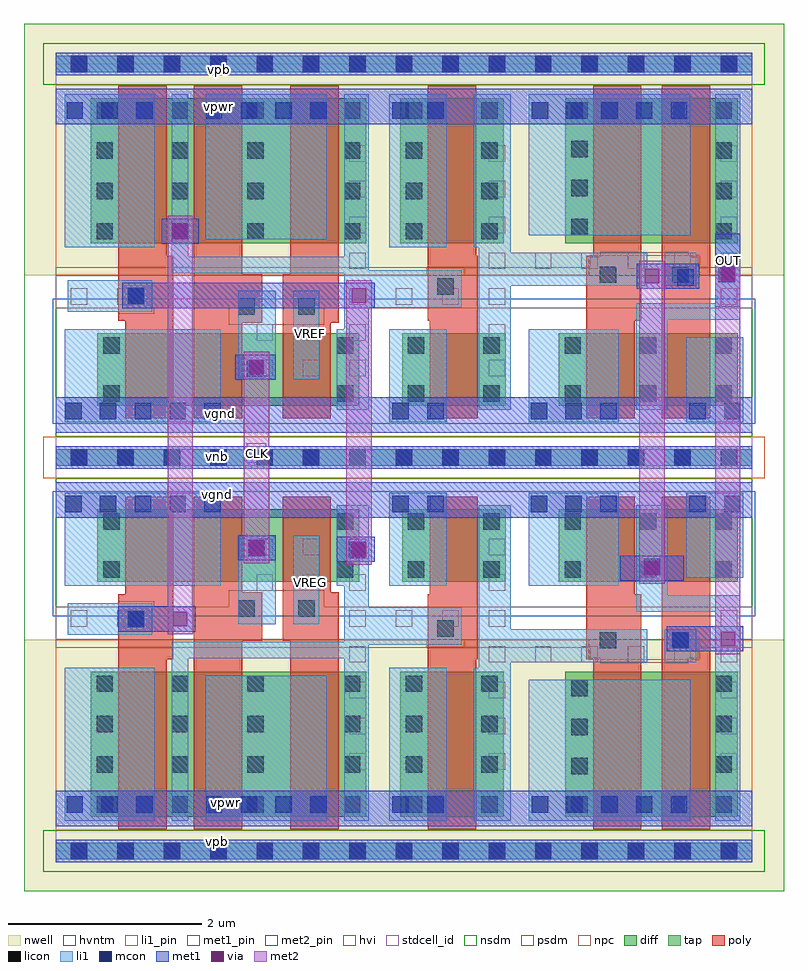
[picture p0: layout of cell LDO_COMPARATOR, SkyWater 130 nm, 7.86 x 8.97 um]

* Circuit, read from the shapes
.subckt LDO_COMPARATOR CLK OUT VREF VREG vgnd vnb vpb vpwr
XM1 n1 scs8hvl_inv_1_3/A vgnd vnb sky130_fd_pr__nfet_g5v0d10v5 w=0.75 l=0.5
XM2 n2 scs8hvl_inv_1_2/A vgnd vnb sky130_fd_pr__nfet_g5v0d10v5 w=0.75 l=0.5
XM3 n3 CLK n1 vnb sky130_fd_pr__nfet_g5v0d10v5 w=0.75 l=0.5
XM4 n4 CLK n2 vnb sky130_fd_pr__nfet_g5v0d10v5 w=0.75 l=0.5
XM5 scs8hvl_inv_1_2/A VREG n3 vnb sky130_fd_pr__nfet_g5v0d10v5 w=0.75 l=0.5
XM6 scs8hvl_inv_1_3/A VREF n4 vnb sky130_fd_pr__nfet_g5v0d10v5 w=0.75 l=0.5
XM7 scs8hvl_nor2_1_5/A scs8hvl_inv_1_2/A vgnd vnb sky130_fd_pr__nfet_g5v0d10v5 w=0.75 l=0.5
XM8 scs8hvl_nor2_1_4/A scs8hvl_inv_1_3/A vgnd vnb sky130_fd_pr__nfet_g5v0d10v5 w=0.75 l=0.5
XM9 scs8hvl_nor2_1_4/B scs8hvl_nor2_1_5/A vgnd vnb sky130_fd_pr__nfet_g5v0d10v5 w=0.75 l=0.5
XM10 OUT scs8hvl_nor2_1_4/A vgnd vnb sky130_fd_pr__nfet_g5v0d10v5 w=0.75 l=0.5
XM11 vgnd OUT scs8hvl_nor2_1_4/B vnb sky130_fd_pr__nfet_g5v0d10v5 w=0.75 l=0.5
XM12 vgnd scs8hvl_nor2_1_4/B OUT vnb sky130_fd_pr__nfet_g5v0d10v5 w=0.75 l=0.5
XM13 scs8hvl_inv_1_2/A scs8hvl_inv_1_3/A vpwr vpb sky130_fd_pr__pfet_g5v0d10v5 w=1.5 l=0.5
XM14 scs8hvl_inv_1_3/A scs8hvl_inv_1_2/A vpwr vpb sky130_fd_pr__pfet_g5v0d10v5 w=1.5 l=0.5
XM15 vpwr CLK scs8hvl_inv_1_2/A vpb sky130_fd_pr__pfet_g5v0d10v5 w=1.5 l=0.5
XM16 vpwr CLK scs8hvl_inv_1_3/A vpb sky130_fd_pr__pfet_g5v0d10v5 w=1.5 l=0.5
XM17 scs8hvl_inv_1_2/A VREG vpwr vpb sky130_fd_pr__pfet_g5v0d10v5 w=1.5 l=0.5
XM18 scs8hvl_inv_1_3/A VREF vpwr vpb sky130_fd_pr__pfet_g5v0d10v5 w=1.5 l=0.5
XM19 scs8hvl_nor2_1_5/A scs8hvl_inv_1_2/A vpwr vpb sky130_fd_pr__pfet_g5v0d10v5 w=1.5 l=0.5
XM20 scs8hvl_nor2_1_4/A scs8hvl_inv_1_3/A vpwr vpb sky130_fd_pr__pfet_g5v0d10v5 w=1.5 l=0.5
XM21 n5 scs8hvl_nor2_1_5/A vpwr vpb sky130_fd_pr__pfet_g5v0d10v5 w=1.5 l=0.5
XM22 n6 scs8hvl_nor2_1_4/A vpwr vpb sky130_fd_pr__pfet_g5v0d10v5 w=1.5 l=0.5
XM23 scs8hvl_nor2_1_4/B OUT n5 vpb sky130_fd_pr__pfet_g5v0d10v5 w=1.5 l=0.5
XM24 OUT scs8hvl_nor2_1_4/B n6 vpb sky130_fd_pr__pfet_g5v0d10v5 w=1.5 l=0.5
.ends

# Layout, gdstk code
import gdstk
lib = gdstk.Library(unit=1e-6, precision=1e-09)
def R(c, l, rs):  # rectangles x0, y0, x1, y1
    for r in rs: c.add(gdstk.rectangle(r[:2], r[2:], *l))
def A(c, l, x, y, w, h, nx, ny, dx, dy):  # array of equal rectangles
    R(c, l, [(x+i*dx, y+j*dy, x+i*dx+w, y+j*dy+h) for i in range(nx) for j in range(ny)])
def P(c, l, *ps):  # polygons
    for p in ps: c.add(gdstk.Polygon(p, *l))
nwell = (64, 20)
diff = (65, 20)
tap = (65, 44)
poly = (66, 20)
licon = (66, 44)
li1_pin = (67, 16)
li1 = (67, 20)
mcon = (67, 44)
met1_pin = (68, 16)
met1 = (68, 20)
via = (68, 44)
met2_pin = (69, 16)
met2 = (69, 20)
hvi = (75, 20)
stdcell_id = (81, 4)
nsdm = (93, 44)
psdm = (94, 20)
npc = (95, 20)
hvntm = (125, 20)

scs8hvl_nand3_1 = lib.new_cell('scs8hvl_nand3_1')
R(scs8hvl_nand3_1, nwell, [(-0.33,1.885,3.69,4.485)])
R(scs8hvl_nand3_1, diff, [(0.43,0.535,3.135,1.285), (0.36,2.215,3.21,3.715)])
R(scs8hvl_nand3_1, tap, [(0,-0.085,3.36,0.085), (0,3.985,3.36,4.155)])
P(scs8hvl_nand3_1, poly, [(2.925,3.845),(2.425,3.845),(2.425,1.895),(2.345,1.895),(2.345,0.405),(2.845,0.405),(2.845,1.395),(2.925,1.395)],
  [(2.135,1.895),(1.925,1.895),(1.925,3.845),(1.425,3.845),(1.425,0.405),(1.925,0.405),(1.925,1.395),(2.135,1.395)],
  [(1.215,2.085),(1.145,2.085),(1.145,3.845),(0.645,3.845),(0.645,1.415),(0.715,1.415),(0.715,0.405),(1.215,0.405)])
A(scs8hvl_nand3_1, licon, 0.155, -0.085, 0.17, 0.17, 7, 2, 0.48, 4.07)
A(scs8hvl_nand3_1, licon, 0.42, 2.255, 0.17, 0.17, 3, 2, 0.78, 0.415)
A(scs8hvl_nand3_1, licon, 0.42, 3.09, 0.17, 0.17, 3, 2, 0.78, 0.415)
R(scs8hvl_nand3_1, licon, [(0.49,0.575,0.66,0.745), (2.905,0.575,3.075,0.745), (0.49,1.075,0.66,1.245), (2.905,1.075,3.075,1.245), (1.885,1.475,2.055,1.645), (2.505,1.475,2.675,1.645), (0.745,1.585,0.915,1.755), (2.98,2.255,3.15,2.425), (2.98,2.67,3.15,2.84), (2.98,3.09,3.15,3.26), (2.98,3.505,3.15,3.675)])
A(scs8hvl_nand3_1, li1_pin, 2.075, 0.84, 0.17, 0.17, 3, 2, 0.48, 0.37)
A(scs8hvl_nand3_1, li1_pin, 3.035, 1.58, 0.17, 0.17, 1, 5, 0, 0.37)
R(scs8hvl_nand3_1, li1_pin, [(0.155,1.58,0.325,1.75), (0.635,1.58,0.805,1.75)])
R(scs8hvl_nand3_1, li1, [(0,-0.085,3.36,0.085), (0.09,0.365,1.705,1.325), (1.885,0.81,2.275,1.725), (2.455,0.81,2.725,1.725), (0.125,1.505,0.995,1.835), (0.09,2.175,1.02,3.755), (1.55,2.255,2.8,3.755), (0,3.985,3.36,4.155)])
P(scs8hvl_nand3_1, li1, [(3.235,3.755),(2.98,3.755),(2.98,2.075),(1.37,2.075),(1.37,3.755),(1.2,3.755),(1.2,1.905),(2.98,1.905),(2.98,1.325),(2.905,1.325),(2.905,0.495),(3.235,0.495)])
A(scs8hvl_nand3_1, mcon, 0.095, 0.395, 0.17, 0.17, 5, 1, 0.36, 0)
A(scs8hvl_nand3_1, mcon, 0.11, 3.505, 0.17, 0.17, 3, 1, 0.36, 0)
A(scs8hvl_nand3_1, mcon, 1.55, 3.505, 0.17, 0.17, 4, 1, 0.36, 0)
R(scs8hvl_nand3_1, mcon, [(0.155,-0.085,0.325,0.085), (0.155,-0.085,0.325,0.085), (0.635,-0.085,0.805,0.085), (0.635,-0.085,0.805,0.085), (1.115,-0.085,1.285,0.085), (1.115,-0.085,1.285,0.085), (1.595,-0.085,1.765,0.085), (1.595,-0.085,1.765,0.085), (2.075,-0.085,2.245,0.085), (2.075,-0.085,2.245,0.085), (2.555,-0.085,2.725,0.085), (2.555,-0.085,2.725,0.085), (3.035,-0.085,3.205,0.085), (3.035,-0.085,3.205,0.085), (0.155,3.985,0.325,4.155), (0.155,3.985,0.325,4.155), (0.635,3.985,0.805,4.155), (0.635,3.985,0.805,4.155), (1.115,3.985,1.285,4.155), (1.115,3.985,1.285,4.155), (1.595,3.985,1.765,4.155), (1.595,3.985,1.765,4.155), (2.075,3.985,2.245,4.155), (2.075,3.985,2.245,4.155), (2.555,3.985,2.725,4.155), (2.555,3.985,2.725,4.155), (3.035,3.985,3.205,4.155), (3.035,3.985,3.205,4.155)])
R(scs8hvl_nand3_1, met1_pin, [(0,0,3.36,0.115), (0,0.255,3.36,0.625), (0,3.445,3.36,3.815), (0,3.955,3.36,4.07)])
R(scs8hvl_nand3_1, met1, [(0,-0.115,3.36,0.115), (0,0.255,3.36,0.625), (0,3.445,3.36,3.815), (0,3.955,3.36,4.185)])
R(scs8hvl_nand3_1, hvi, [(-0.33,-0.265,3.69,4.485)])
R(scs8hvl_nand3_1, stdcell_id, [(0,0,3.36,4.07)])
R(scs8hvl_nand3_1, nsdm, [(0,0.215,3.36,1.885), (-0.13,3.855,3.49,4.285), (0,3.855,3.36,4.07)])
R(scs8hvl_nand3_1, psdm, [(-0.13,-0.215,3.49,0.215), (0,1.885,3.36,3.855)])
P(scs8hvl_nand3_1, npc, [(3.36,1.97),(0,1.97),(0,1.545),(0.645,1.545),(0.645,1.485),(1.015,1.485),(1.015,1.545),(1.785,1.545),(1.785,1.375),(2.775,1.375),(2.775,1.545),(3.36,1.545)])
R(scs8hvl_nand3_1, hvntm, [(-0.035,0.35,3.395,1.64)])
scs8hvl_nand3_1.add(gdstk.Label('scs8hvl_nand3_1', (0,0), layer=83, texttype=44))
scs8hvl_nand3_1.add(gdstk.Label('vpb', (1.68,4.013), layer=68, texttype=5))
scs8hvl_nand3_1.add(gdstk.Label('vpwr', (1.68,3.63), layer=68, texttype=5))
scs8hvl_nand3_1.add(gdstk.Label('vnb', (1.68,0.058), layer=68, texttype=5))
scs8hvl_nand3_1.add(gdstk.Label('vgnd', (1.68,0.44), layer=68, texttype=5))
scs8hvl_nand3_1.add(gdstk.Label('Y', (3.12,3.145), layer=67, texttype=5))
scs8hvl_nand3_1.add(gdstk.Label('Y', (3.12,2.775), layer=67, texttype=5))
scs8hvl_nand3_1.add(gdstk.Label('Y', (3.12,2.405), layer=67, texttype=5))
scs8hvl_nand3_1.add(gdstk.Label('Y', (3.12,2.035), layer=67, texttype=5))
scs8hvl_nand3_1.add(gdstk.Label('Y', (3.12,1.665), layer=67, texttype=5))
scs8hvl_nand3_1.add(gdstk.Label('Y', (3.12,1.295), layer=67, texttype=5))
scs8hvl_nand3_1.add(gdstk.Label('Y', (3.12,0.925), layer=67, texttype=5))
scs8hvl_nand3_1.add(gdstk.Label('C', (0.72,1.665), layer=67, texttype=5))
scs8hvl_nand3_1.add(gdstk.Label('C', (0.24,1.665), layer=67, texttype=5))
scs8hvl_nand3_1.add(gdstk.Label('B', (2.16,1.295), layer=67, texttype=5))
scs8hvl_nand3_1.add(gdstk.Label('B', (2.16,0.925), layer=67, texttype=5))
scs8hvl_nand3_1.add(gdstk.Label('A', (2.64,1.295), layer=67, texttype=5))
scs8hvl_nand3_1.add(gdstk.Label('A', (2.64,0.925), layer=67, texttype=5))

scs8hvl_inv_1 = lib.new_cell('scs8hvl_inv_1')
R(scs8hvl_inv_1, nwell, [(-0.33,1.885,1.77,4.485)])
R(scs8hvl_inv_1, diff, [(0.22,0.535,1.29,1.285), (0.2,2.215,1.27,3.715)])
R(scs8hvl_inv_1, tap, [(0,-0.085,1.44,0.085), (0,3.985,1.44,4.155)])
P(scs8hvl_inv_1, poly, [(1.005,2.085),(0.985,2.085),(0.985,3.845),(0.485,3.845),(0.485,1.415),(0.505,1.415),(0.505,0.405),(1.005,0.405)])
A(scs8hvl_inv_1, licon, 0.155, -0.085, 0.17, 0.17, 3, 2, 0.48, 4.07)
R(scs8hvl_inv_1, licon, [(0.28,0.575,0.45,0.745), (1.06,0.575,1.23,0.745), (0.28,1.075,0.45,1.245), (1.06,1.075,1.23,1.245), (0.585,1.685,0.755,1.855), (0.26,2.255,0.43,2.425), (1.04,2.255,1.21,2.425), (0.26,2.67,0.43,2.84), (1.04,2.67,1.21,2.84), (0.26,3.09,0.43,3.26), (1.04,3.09,1.21,3.26), (0.26,3.505,0.43,3.675), (1.04,3.505,1.21,3.675)])
A(scs8hvl_inv_1, li1_pin, 0.155, 1.58, 0.17, 0.17, 3, 1, 0.48, 0)
A(scs8hvl_inv_1, li1_pin, 1.115, 1.95, 0.17, 0.17, 1, 4, 0, 0.37)
R(scs8hvl_inv_1, li1_pin, [(1.115,0.84,1.285,1.01), (1.115,1.21,1.285,1.38)])
R(scs8hvl_inv_1, li1, [(0,-0.085,1.44,0.085), (0.09,0.365,0.68,1.325), (0.125,1.55,0.835,1.935), (0.09,2.175,0.68,3.755), (0,3.985,1.44,4.155)])
P(scs8hvl_inv_1, li1, [(1.345,3.755),(0.96,3.755),(0.96,2.175),(1.015,2.175),(1.015,0.495),(1.345,0.495)])
R(scs8hvl_inv_1, mcon, [(0.155,-0.085,0.325,0.085), (0.155,-0.085,0.325,0.085), (0.635,-0.085,0.805,0.085), (0.635,-0.085,0.805,0.085), (1.115,-0.085,1.285,0.085), (1.115,-0.085,1.285,0.085), (0.12,0.395,0.29,0.565), (0.48,0.395,0.65,0.565), (0.12,3.505,0.29,3.675), (0.48,3.505,0.65,3.675), (0.155,3.985,0.325,4.155), (0.155,3.985,0.325,4.155), (0.635,3.985,0.805,4.155), (0.635,3.985,0.805,4.155), (1.115,3.985,1.285,4.155), (1.115,3.985,1.285,4.155)])
R(scs8hvl_inv_1, met1_pin, [(0,0,1.44,0.115), (0,0.255,1.44,0.625), (0,3.445,1.44,3.815), (0,3.955,1.44,4.07)])
R(scs8hvl_inv_1, met1, [(0,-0.115,1.44,0.115), (0,0.255,1.44,0.625), (0,3.445,1.44,3.815), (0,3.955,1.44,4.185)])
R(scs8hvl_inv_1, hvi, [(-0.33,-0.265,1.77,4.485)])
R(scs8hvl_inv_1, stdcell_id, [(0,0,1.44,4.07)])
R(scs8hvl_inv_1, nsdm, [(0,0.215,1.44,1.885), (-0.13,3.855,1.57,4.285), (0,3.855,1.44,4.07)])
R(scs8hvl_inv_1, psdm, [(-0.13,-0.215,1.57,0.215)])
P(scs8hvl_inv_1, psdm, [(1.44,3.855),(0,3.855),(0,1.885),(0.475,1.885),(0.475,1.965),(0.865,1.965),(0.865,1.885),(1.44,1.885)])
R(scs8hvl_inv_1, npc, [(0,1.545,1.44,1.97)])
R(scs8hvl_inv_1, hvntm, [(-0.035,0.35,1.475,1.64)])
scs8hvl_inv_1.add(gdstk.Label('scs8hvl_inv_1', (0,0), layer=83, texttype=44))
scs8hvl_inv_1.add(gdstk.Label('vpb', (0.72,4.013), layer=68, texttype=5))
scs8hvl_inv_1.add(gdstk.Label('vpwr', (0.72,3.63), layer=68, texttype=5))
scs8hvl_inv_1.add(gdstk.Label('vnb', (0.72,0.058), layer=68, texttype=5))
scs8hvl_inv_1.add(gdstk.Label('vgnd', (0.72,0.44), layer=68, texttype=5))
scs8hvl_inv_1.add(gdstk.Label('Y', (1.2,3.145), layer=67, texttype=5))
scs8hvl_inv_1.add(gdstk.Label('Y', (1.2,2.775), layer=67, texttype=5))
scs8hvl_inv_1.add(gdstk.Label('Y', (1.2,2.405), layer=67, texttype=5))
scs8hvl_inv_1.add(gdstk.Label('Y', (1.2,2.035), layer=67, texttype=5))
scs8hvl_inv_1.add(gdstk.Label('Y', (1.2,1.665), layer=67, texttype=5))
scs8hvl_inv_1.add(gdstk.Label('Y', (1.2,1.295), layer=67, texttype=5))
scs8hvl_inv_1.add(gdstk.Label('Y', (1.2,0.925), layer=67, texttype=5))
scs8hvl_inv_1.add(gdstk.Label('A', (0.72,1.665), layer=67, texttype=5))
scs8hvl_inv_1.add(gdstk.Label('A', (0.24,1.665), layer=67, texttype=5))

scs8hvl_nor2_1 = lib.new_cell('scs8hvl_nor2_1')
R(scs8hvl_nor2_1, nwell, [(-0.33,1.885,2.73,4.485)])
R(scs8hvl_nor2_1, diff, [(0.4,0.535,2.25,1.285), (0.47,2.215,2.25,3.715)])
R(scs8hvl_nor2_1, tap, [(0,-0.085,2.4,0.085), (0,3.985,2.4,4.155)])
R(scs8hvl_nor2_1, poly, [(1.465,0.405,1.965,3.845)])
P(scs8hvl_nor2_1, poly, [(1.255,3.845),(0.755,3.845),(0.755,2.085),(0.685,2.085),(0.685,0.405),(1.185,0.405),(1.185,1.415),(1.255,1.415)])
A(scs8hvl_nor2_1, licon, 0.155, -0.085, 0.17, 0.17, 5, 2, 0.48, 4.07)
A(scs8hvl_nor2_1, licon, 0.46, 0.575, 0.17, 0.17, 3, 2, 0.78, 0.5)
R(scs8hvl_nor2_1, licon, [(0.825,1.805,0.995,1.975), (1.575,1.805,1.745,1.975), (2.02,2.255,2.19,2.425), (0.53,2.3,0.7,2.47), (2.02,2.67,2.19,2.84), (0.53,2.7,0.7,2.87), (2.02,3.09,2.19,3.26), (0.53,3.105,0.7,3.275), (0.53,3.505,0.7,3.675), (2.02,3.505,2.19,3.675)])
A(scs8hvl_nor2_1, li1_pin, 0.155, 1.95, 0.17, 0.17, 5, 1, 0.48, 0)
A(scs8hvl_nor2_1, li1_pin, 2.075, 2.32, 0.17, 0.17, 1, 3, 0, 0.37)
R(scs8hvl_nor2_1, li1_pin, [(2.075,1.58,2.245,1.75)])
R(scs8hvl_nor2_1, li1, [(0,-0.085,2.4,0.085), (0.09,0.365,1.02,1.325), (1.72,0.365,2.31,1.245), (0.125,1.775,1.315,2.12), (1.495,1.775,1.825,2.12), (0.09,2.3,1.76,3.755), (0,3.985,2.4,4.155)])
P(scs8hvl_nor2_1, li1, [(2.275,3.755),(2.02,3.755),(2.02,1.595),(1.2,1.595),(1.2,0.495),(1.53,0.495),(1.53,1.425),(2.275,1.425)])
A(scs8hvl_nor2_1, mcon, 0.11, 0.395, 0.17, 0.17, 3, 1, 0.36, 0)
A(scs8hvl_nor2_1, mcon, 0.12, 3.505, 0.17, 0.17, 5, 1, 0.36, 0)
R(scs8hvl_nor2_1, mcon, [(0.155,-0.085,0.325,0.085), (0.155,-0.085,0.325,0.085), (0.635,-0.085,0.805,0.085), (0.635,-0.085,0.805,0.085), (1.115,-0.085,1.285,0.085), (1.115,-0.085,1.285,0.085), (1.595,-0.085,1.765,0.085), (1.595,-0.085,1.765,0.085), (2.075,-0.085,2.245,0.085), (2.075,-0.085,2.245,0.085), (1.75,0.395,1.92,0.565), (2.11,0.395,2.28,0.565), (0.155,3.985,0.325,4.155), (0.155,3.985,0.325,4.155), (0.635,3.985,0.805,4.155), (0.635,3.985,0.805,4.155), (1.115,3.985,1.285,4.155), (1.115,3.985,1.285,4.155), (1.595,3.985,1.765,4.155), (1.595,3.985,1.765,4.155), (2.075,3.985,2.245,4.155), (2.075,3.985,2.245,4.155)])
R(scs8hvl_nor2_1, met1_pin, [(0,0,2.4,0.115), (0,0.255,2.4,0.625), (0,3.445,2.4,3.815), (0,3.955,2.4,4.07)])
R(scs8hvl_nor2_1, met1, [(0,-0.115,2.4,0.115), (0,0.255,2.4,0.625), (0,3.445,2.4,3.815), (0,3.955,2.4,4.185)])
R(scs8hvl_nor2_1, hvi, [(-0.33,-0.265,2.73,4.485)])
R(scs8hvl_nor2_1, stdcell_id, [(0,0,2.4,4.07)])
R(scs8hvl_nor2_1, nsdm, [(0,0.215,2.4,1.885), (-0.13,3.855,2.53,4.285), (0,3.855,2.4,4.07)])
R(scs8hvl_nor2_1, psdm, [(-0.13,-0.215,2.53,0.215)])
P(scs8hvl_nor2_1, psdm, [(2.4,3.855),(0,3.855),(0,1.885),(0.715,1.885),(0.715,2.085),(1.855,2.085),(1.855,1.885),(2.4,1.885)])
P(scs8hvl_nor2_1, npc, [(2.4,1.97),(1.845,1.97),(1.845,2.075),(1.74,2.075),(1.74,2.125),(0.83,2.125),(0.83,2.075),(0.725,2.075),(0.725,1.97),(0,1.97),(0,1.545),(2.4,1.545)])
R(scs8hvl_nor2_1, hvntm, [(-0.035,0.35,2.435,1.64)])
scs8hvl_nor2_1.add(gdstk.Label('scs8hvl_nor2_1', (0,0), layer=83, texttype=44))
scs8hvl_nor2_1.add(gdstk.Label('vpb', (1.2,4.013), layer=68, texttype=5))
scs8hvl_nor2_1.add(gdstk.Label('vpwr', (1.2,3.63), layer=68, texttype=5))
scs8hvl_nor2_1.add(gdstk.Label('vnb', (1.2,0.058), layer=68, texttype=5))
scs8hvl_nor2_1.add(gdstk.Label('vgnd', (1.2,0.44), layer=68, texttype=5))
scs8hvl_nor2_1.add(gdstk.Label('Y', (2.16,3.145), layer=67, texttype=5))
scs8hvl_nor2_1.add(gdstk.Label('Y', (2.16,2.775), layer=67, texttype=5))
scs8hvl_nor2_1.add(gdstk.Label('Y', (2.16,2.405), layer=67, texttype=5))
scs8hvl_nor2_1.add(gdstk.Label('Y', (2.16,2.035), layer=67, texttype=5))
scs8hvl_nor2_1.add(gdstk.Label('Y', (2.16,1.665), layer=67, texttype=5))
scs8hvl_nor2_1.add(gdstk.Label('B', (1.68,2.035), layer=67, texttype=5))
scs8hvl_nor2_1.add(gdstk.Label('A', (1.2,2.035), layer=67, texttype=5))
scs8hvl_nor2_1.add(gdstk.Label('A', (0.72,2.035), layer=67, texttype=5))
scs8hvl_nor2_1.add(gdstk.Label('A', (0.24,2.035), layer=67, texttype=5))

ldo_comparator = lib.new_cell('LDO_COMPARATOR')
R(ldo_comparator, li1_pin, [(2.555,2.69,2.725,2.86), (2.555,5.28,2.725,5.45)])
R(ldo_comparator, li1, [(4.705,1.95,4.925,2.295), (3.235,2.135,3.485,2.52), (3.235,5.62,3.485,6.005), (4.705,5.845,4.925,6.19)])
R(ldo_comparator, mcon, [(6.375,2.095,6.545,2.265), (0.745,2.315,0.915,2.485), (6.08,2.855,6.25,3.025), (3.03,3.03,3.2,3.2), (1.99,3.05,2.16,3.22), (1.975,4.905,2.145,5.075), (0.745,5.655,0.915,5.825), (6.425,5.845,6.595,6.015), (6.85,5.885,7.02,6.055), (1.2,6.325,1.37,6.495)])
R(ldo_comparator, met1_pin, [(0,0,7.2,0.115), (0,0.255,7.2,0.625), (0,3.445,7.2,3.815), (0,3.955,7.2,4.185), (0,4.325,7.2,4.695), (6.875,6.02,7.045,6.19), (0,7.515,7.2,7.885), (0,8.025,7.2,8.14)])
R(ldo_comparator, met1, [(6.315,2.065,7.11,2.325), (0.645,2.27,1.445,2.53), (5.835,2.795,6.495,3.055), (2.905,2.99,3.295,3.25), (1.885,3.005,2.275,3.265), (1.855,4.875,2.275,5.135), (0.685,5.615,3.295,5.875), (6.82,5.63,7.08,6.385), (6.005,5.815,6.655,6.075), (1.095,6.28,1.475,6.54)])
R(ldo_comparator, via, [(6.875,2.12,7.025,2.27), (1.21,2.325,1.36,2.475), (6.09,2.85,6.24,3), (3.06,3.045,3.21,3.195), (2,3.06,2.15,3.21), (2,4.93,2.15,5.08), (3.06,5.67,3.21,5.82), (6.09,5.87,6.24,6.02), (6.875,5.895,7.025,6.045), (1.21,6.335,1.36,6.485)])
R(ldo_comparator, met2_pin, [(1.975,4.015,2.175,4.215)])
R(ldo_comparator, met2, [(6.82,2.035,7.08,6.13), (1.155,2.24,1.415,6.57), (6.035,2.765,6.295,6.105), (3.005,2.96,3.265,5.905), (1.945,2.975,2.205,5.165)])
ldo_comparator.add(gdstk.Reference(scs8hvl_nand3_1, (0,4.07), x_reflection=True))
ldo_comparator.add(gdstk.Reference(scs8hvl_nand3_1, (0,4.07)))
ldo_comparator.add(gdstk.Reference(scs8hvl_inv_1, (3.36,4.07), x_reflection=True))
ldo_comparator.add(gdstk.Reference(scs8hvl_inv_1, (3.36,4.07)))
ldo_comparator.add(gdstk.Reference(scs8hvl_nor2_1, (4.8,4.07)))
ldo_comparator.add(gdstk.Reference(scs8hvl_nor2_1, (4.8,4.07), x_reflection=True))
ldo_comparator.add(gdstk.Label('vpb', (1.675,0.1), layer=68, texttype=5))
ldo_comparator.add(gdstk.Label('vgnd', (1.7,4.52), layer=68, texttype=5))
ldo_comparator.add(gdstk.Label('vpwr', (1.755,0.505), layer=68, texttype=5))
ldo_comparator.add(gdstk.Label('vpb', (1.69,8.08), layer=68, texttype=5))
ldo_comparator.add(gdstk.Label('OUT', (6.96,6.11), layer=68, texttype=5))
ldo_comparator.add(gdstk.Label('vnb', (1.675,4.08), layer=68, texttype=5))
ldo_comparator.add(gdstk.Label('vgnd', (1.67,3.69), layer=68, texttype=5))
ldo_comparator.add(gdstk.Label('vpwr', (1.68,7.705), layer=68, texttype=5))
ldo_comparator.add(gdstk.Label('VREF', (2.635,5.355), layer=67, texttype=5))
ldo_comparator.add(gdstk.Label('VREG', (2.635,2.775), layer=67, texttype=5))
ldo_comparator.add(gdstk.Label('CLK', (2.085,4.11), layer=69, texttype=16))

lib.write_gds('LDO_COMPARATOR.gds')
